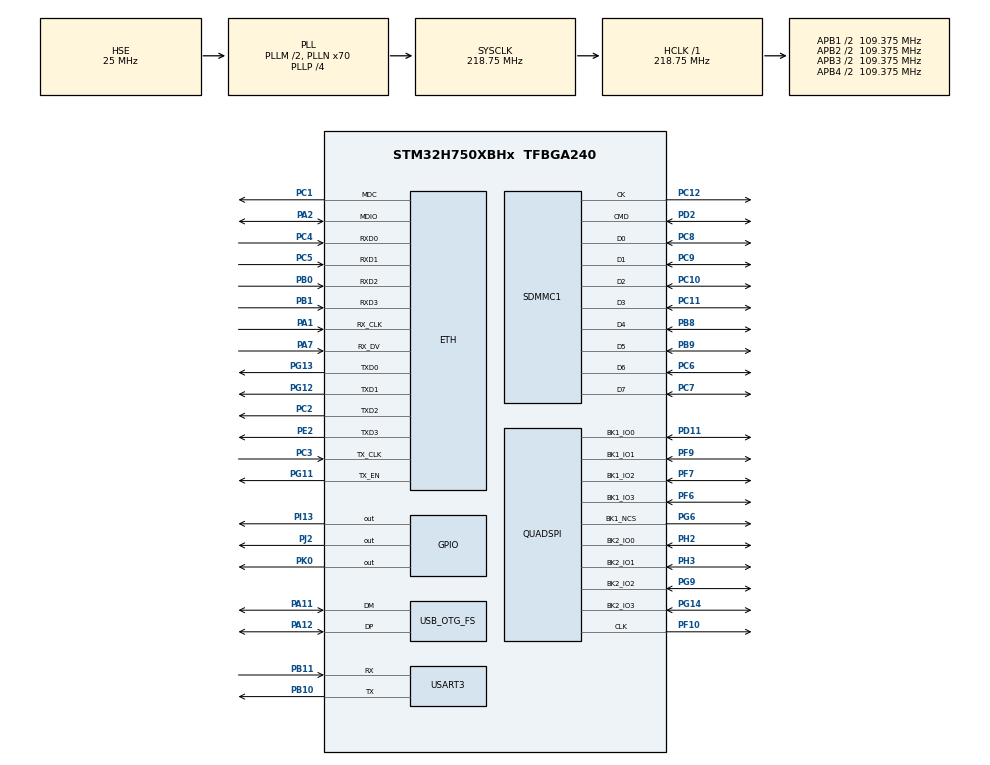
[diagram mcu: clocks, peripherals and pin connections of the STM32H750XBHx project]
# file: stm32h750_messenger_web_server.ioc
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CORTEX_M7.AccessPermission-Cortex_Memory_Protection_Unit_Region0_Settings=MPU_REGION_FULL_ACCESS
CORTEX_M7.AccessPermission-Cortex_Memory_Protection_Unit_Region1_Settings=MPU_REGION_FULL_ACCESS
CORTEX_M7.AccessPermission-Cortex_Memory_Protection_Unit_Region2_Settings=MPU_REGION_FULL_ACCESS
CORTEX_M7.AccessPermission-Cortex_Memory_Protection_Unit_Region3_Settings=MPU_REGION_FULL_ACCESS
CORTEX_M7.BaseAddress-Cortex_Memory_Protection_Unit_Region0_Settings=0x90000000
CORTEX_M7.BaseAddress-Cortex_Memory_Protection_Unit_Region1_Settings=0x90000000
CORTEX_M7.BaseAddress-Cortex_Memory_Protection_Unit_Region2_Settings=0x30004000
CORTEX_M7.BaseAddress-Cortex_Memory_Protection_Unit_Region3_Settings=0x24000000
CORTEX_M7.CPU_DCache=Enabled
CORTEX_M7.CPU_ICache=Enabled
CORTEX_M7.DisableExec-Cortex_Memory_Protection_Unit_Region0_Settings=MPU_INSTRUCTION_ACCESS_DISABLE
CORTEX_M7.DisableExec-Cortex_Memory_Protection_Unit_Region2_Settings=MPU_INSTRUCTION_ACCESS_DISABLE
CORTEX_M7.DisableExec-Cortex_Memory_Protection_Unit_Region3_Settings=MPU_INSTRUCTION_ACCESS_DISABLE
CORTEX_M7.Enable-Cortex_Memory_Protection_Unit_Region0_Settings=MPU_REGION_ENABLE
CORTEX_M7.Enable-Cortex_Memory_Protection_Unit_Region1_Settings=MPU_REGION_ENABLE
CORTEX_M7.Enable-Cortex_Memory_Protection_Unit_Region2_Settings=MPU_REGION_ENABLE
CORTEX_M7.Enable-Cortex_Memory_Protection_Unit_Region3_Settings=MPU_REGION_ENABLE
CORTEX_M7.IsBufferable-Cortex_Memory_Protection_Unit_Region0_Settings=MPU_ACCESS_BUFFERABLE
CORTEX_M7.IsBufferable-Cortex_Memory_Protection_Unit_Region1_Settings=MPU_ACCESS_BUFFERABLE
CORTEX_M7.IsCacheable-Cortex_Memory_Protection_Unit_Region0_Settings=MPU_ACCESS_CACHEABLE
CORTEX_M7.IsCacheable-Cortex_Memory_Protection_Unit_Region1_Settings=MPU_ACCESS_CACHEABLE
CORTEX_M7.IsShareable-Cortex_Memory_Protection_Unit_Region2_Settings=MPU_ACCESS_SHAREABLE
CORTEX_M7.IsShareable-Cortex_Memory_Protection_Unit_Region3_Settings=MPU_ACCESS_SHAREABLE
CORTEX_M7.MPU_Control=MPU_PRIVILEGED_DEFAULT
CORTEX_M7.Size-Cortex_Memory_Protection_Unit_Region0_Settings=MPU_REGION_SIZE_64MB
CORTEX_M7.Size-Cortex_Memory_Protection_Unit_Region1_Settings=MPU_REGION_SIZE_1MB
CORTEX_M7.Size-Cortex_Memory_Protection_Unit_Region2_Settings=MPU_REGION_SIZE_64KB
CORTEX_M7.Size-Cortex_Memory_Protection_Unit_Region3_Settings=MPU_REGION_SIZE_8KB
CORTEX_M7.TypeExtField-Cortex_Memory_Protection_Unit_Region2_Settings=MPU_TEX_LEVEL1
CORTEX_M7.TypeExtField-Cortex_Memory_Protection_Unit_Region3_Settings=MPU_TEX_LEVEL1
Dma.Request0=USART3_TX
Dma.USART3_TX.0.Direction=DMA_MEMORY_TO_PERIPH
Dma.USART3_TX.0.EventEnable=DISABLE
Dma.USART3_TX.0.FIFOMode=DMA_FIFOMODE_DISABLE
Dma.USART3_TX.0.Instance=DMA1_Stream0
Dma.USART3_TX.0.MemDataAlignment=DMA_MDATAALIGN_BYTE
Dma.USART3_TX.0.MemInc=DMA_MINC_ENABLE
Dma.USART3_TX.0.Mode=DMA_NORMAL
Dma.USART3_TX.0.PeriphDataAlignment=DMA_PDATAALIGN_BYTE
Dma.USART3_TX.0.PeriphInc=DMA_PINC_DISABLE
Dma.USART3_TX.0.Polarity=HAL_DMAMUX_REQ_GEN_RISING
Dma.USART3_TX.0.Priority=DMA_PRIORITY_LOW
Dma.USART3_TX.0.RequestNumber=1
Dma.USART3_TX.0.SignalID=NONE
Dma.USART3_TX.0.SyncEnable=DISABLE
Dma.USART3_TX.0.SyncPolarity=HAL_DMAMUX_SYNC_NO_EVENT
Dma.USART3_TX.0.SyncRequestNumber=1
Dma.USART3_TX.0.SyncSignalID=NONE
ETH.MediaInterface=HAL_ETH_MII_MODE
FATFS._USE_LFN=3
FREERTOS.BinarySemaphores01=sdmmc_sem,Static,sdmmc_semControlBlock,Depleted
FREERTOS.Mutexes01=rtcMutex,Static,rtcMutexControlBlock,Available;SchedMutex,Static,SchedMutexControlBlock,Available
FREERTOS.Queues01=memoryqueue,10,FsDataStruct,0,Static,memoryqueueBuffer,memoryqueueControlBlock;UsbEventQueue,16,UsbStageEvent,0,Static,UsbEventQueueBuffer,UsbEventQueueControlBlock;UartMessageQueue,10,128,1,Static,UartMessageQueueBuffer,UartMessageQueueControlBlock
FREERTOS.Tasks01=MemoryTask,40,400,StartMemoryTask,Default,NULL,Static,MemoryTaskBuffer,MemoryTaskControlBlock;UartTask,24,400,StartUartTask,Default,NULL,Static,UartTaskBuffer,UartTaskControlBlock;UsbMscTask,32,400,StartUsbMscTask,As external,NULL,Static,UsbMscTaskBuffer,UsbMscTaskControlBlock;SchedTask,8,128,StartSchedTask,Default,NULL,Static,SchedTaskBuffer,SchedTaskControlBlock
LWIP.BSP.number=1
LWIP.GATEWAY_ADDRESS=192.168.000.001
LWIP.IP_ADDRESS=192.168.000.123
LWIP.LWIP_DHCP=0
LWIP.LWIP_HTTPD=1
LWIP.LWIP_HTTPD_CUSTOM_FILES=1
LWIP.LWIP_HTTPD_DYNAMIC_FILE_READ=1
LWIP.LWIP_HTTPD_FS_ASYNC_READ=0
LWIP.LWIP_HTTPD_SUPPORT_POST=1
LWIP.LWIP_SNTP=1
LWIP.MEM_SIZE=8192
LWIP.NETMASK_ADDRESS=255.255.255.000
LWIP.Version=v2.1.2_Cube
LWIP0.BSP.STBoard=false
LWIP0.BSP.api=BSP_COMPONENT_DRIVER
LWIP0.BSP.component=LAN8742
LWIP0.BSP.instance=LAN8742
LWIP0.BSP.name=Driver_PHY
LWIP0.BSP.semaphore=S_LAN8742
LWIP0.BSP.solution=LAN8742
Mcu.Family=STM32H7
Mcu.Name=STM32H750XBHx
Mcu.Package=TFBGA240
NVIC.DMA1_Stream0_IRQn=true\:5\:0\:false\:false\:true\:true\:false\:true\:true
NVIC.ETH_IRQn=true\:5\:0\:false\:false\:true\:true\:true\:true\:true
NVIC.OTG_FS_IRQn=true\:7\:0\:true\:false\:true\:true\:false\:true\:true
NVIC.PriorityGroup=NVIC_PRIORITYGROUP_4
NVIC.SDMMC1_IRQn=true\:5\:0\:true\:false\:true\:true\:true\:true\:true
NVIC.TIM6_DAC_IRQn=true\:6\:0\:true\:false\:true\:false\:true\:true\:true
NVIC.TimeBase=TIM6_DAC_IRQn
NVIC.TimeBaseIP=TIM6
NVIC.USART3_IRQn=true\:5\:0\:false\:false\:true\:true\:true\:true\:true
PA1.Mode=MII Full Duplex Only
PA1.Signal=ETH_RX_CLK
PA10.Signal=USB_OTG_FS_ID
PA11.Mode=Device_Only
PA11.Signal=USB_OTG_FS_DM
PA12.Mode=Device_Only
PA12.Signal=USB_OTG_FS_DP
PA2.Mode=MII Full Duplex Only
PA2.Signal=ETH_MDIO
PA7.Mode=MII Full Duplex Only
PA7.Signal=ETH_RX_DV
PA9.Signal=USB_OTG_FS_VBUS
PB0.Mode=MII Full Duplex Only
PB0.Signal=ETH_RXD2
PB1.Mode=MII Full Duplex Only
PB1.Signal=ETH_RXD3
PB10.Mode=Asynchronous
PB10.Signal=USART3_TX
PB11.Mode=Asynchronous
PB11.Signal=USART3_RX
PB8.Mode=mmc_8_bits_Wide_bus
PB8.Signal=SDMMC1_D4
PB9.Mode=mmc_8_bits_Wide_bus
PB9.Signal=SDMMC1_D5
PC1.Mode=MII Full Duplex Only
PC1.Signal=ETH_MDC
PC10.Mode=mmc_8_bits_Wide_bus
PC10.Signal=SDMMC1_D2
PC11.Mode=mmc_8_bits_Wide_bus
PC11.Signal=SDMMC1_D3
PC12.Mode=mmc_8_bits_Wide_bus
PC12.Signal=SDMMC1_CK
PC14-OSC32_IN\ (OSC32_IN).Mode=LSE-External-Oscillator
PC14-OSC32_IN\ (OSC32_IN).Signal=RCC_OSC32_IN
PC15-OSC32_OUT\ (OSC32_OUT).Mode=LSE-External-Oscillator
PC15-OSC32_OUT\ (OSC32_OUT).Signal=RCC_OSC32_OUT
PC2.Mode=MII Full Duplex Only
PC2.Signal=ETH_TXD2
PC3.Mode=MII Full Duplex Only
PC3.Signal=ETH_TX_CLK
PC4.Mode=MII Full Duplex Only
PC4.Signal=ETH_RXD0
PC5.Mode=MII Full Duplex Only
PC5.Signal=ETH_RXD1
PC6.Mode=mmc_8_bits_Wide_bus
PC6.Signal=SDMMC1_D6
PC7.Mode=mmc_8_bits_Wide_bus
PC7.Signal=SDMMC1_D7
PC8.Mode=mmc_8_bits_Wide_bus
PC8.Signal=SDMMC1_D0
PC9.Mode=mmc_8_bits_Wide_bus
PC9.Signal=SDMMC1_D1
PD11.GPIO_Speed=GPIO_SPEED_FREQ_VERY_HIGH
PD11.Mode=Dual_Bank
PD11.Signal=QUADSPI_BK1_IO0
PD2.Mode=mmc_8_bits_Wide_bus
PD2.Signal=SDMMC1_CMD
PE2.Mode=MII Full Duplex Only
PE2.Signal=ETH_TXD3
PF10.GPIO_Speed=GPIO_SPEED_FREQ_VERY_HIGH
PF10.Mode=Dual_Bank
PF10.Signal=QUADSPI_CLK
PF6.GPIO_Speed=GPIO_SPEED_FREQ_VERY_HIGH
PF6.Mode=Dual_Bank
PF6.Signal=QUADSPI_BK1_IO3
PF7.GPIO_Speed=GPIO_SPEED_FREQ_VERY_HIGH
PF7.Mode=Dual_Bank
PF7.Signal=QUADSPI_BK1_IO2
PF9.GPIO_Speed=GPIO_SPEED_FREQ_VERY_HIGH
PF9.Mode=Dual_Bank
PF9.Signal=QUADSPI_BK1_IO1
PG11.Mode=MII Full Duplex Only
PG11.Signal=ETH_TX_EN
PG12.Mode=MII Full Duplex Only
PG12.Signal=ETH_TXD1
PG13.Mode=MII Full Duplex Only
PG13.Signal=ETH_TXD0
PG14.Mode=Dual_Bank
PG14.Signal=QUADSPI_BK2_IO3
PG6.GPIO_Speed=GPIO_SPEED_FREQ_VERY_HIGH
PG6.Mode=Enable Chip Select 1 for both banks
PG6.Signal=QUADSPI_BK1_NCS
PG9.Mode=Dual_Bank
PG9.Signal=QUADSPI_BK2_IO2
PH0-OSC_IN\ (PH0).Mode=HSE-External-Oscillator
PH0-OSC_IN\ (PH0).Signal=RCC_OSC_IN
PH1-OSC_OUT\ (PH1).Mode=HSE-External-Oscillator
PH1-OSC_OUT\ (PH1).Signal=RCC_OSC_OUT
PH2.Mode=Dual_Bank
PH2.Signal=QUADSPI_BK2_IO0
PH3.Mode=Dual_Bank
PH3.Signal=QUADSPI_BK2_IO1
PI13.Signal=GPIO_Output
PJ2.Signal=GPIO_Output
PK0.Signal=GPIO_Output
ProjectManager.HeapSize=0x200
ProjectManager.StackSize=0x400
ProjectManager.TargetToolchain=CMake
RCC.ADCFreq_Value=40000000
RCC.APB1Freq_Value=109375000
RCC.APB2Freq_Value=109375000
RCC.APB3Freq_Value=109375000
RCC.APB4Freq_Value=109375000
RCC.CKPERSourceSelection=RCC_CLKPSOURCE_HSE
RCC.CortexFreq_Value=218750000
RCC.D1PPRE=RCC_APB3_DIV2
RCC.D2PPRE1=RCC_APB1_DIV2
RCC.D2PPRE2=RCC_APB2_DIV2
RCC.D3PPRE=RCC_APB4_DIV2
RCC.DIVM1=2
RCC.DIVM2=2
RCC.DIVM3=25
RCC.DIVN1=70
RCC.DIVN2=16
RCC.DIVN3=192
RCC.DIVP1=4
RCC.DIVP2=5
RCC.DIVQ1=10
RCC.DIVQ3=4
RCC.HCLKFreq_Value=218750000
RCC.HSE_VALUE=25000000
RCC.PLL2FRACN=0
RCC.PLL3FRACN=0
RCC.PLLFRACN=0
RCC.PLLSourceVirtual=RCC_PLLSOURCE_HSE
RCC.PWR_Regulator_Voltage_Scale=PWR_REGULATOR_VOLTAGE_SCALE2
RCC.QSPICLockSelection=RCC_QSPICLKSOURCE_PLL
RCC.SDMMC1CLockSelection=RCC_SDMMCCLKSOURCE_PLL2
RCC.SYSCLKFreq_VALUE=218750000
RCC.SYSCLKSource=RCC_SYSCLKSOURCE_PLLCLK
RCC.USART234578CLockSelection=RCC_USART234578CLKSOURCE_PLL3
RCC.USBCLockSelection=RCC_USBCLKSOURCE_PLL3
RCC.USBFreq_Value=48000000
SDMMC1.ClockDiv=2
SDMMC1.HardwareFlowControl=SDMMC_HARDWARE_FLOW_CONTROL_ENABLE
USART3.VirtualMode-Asynchronous=VM_ASYNC
USB_DEVICE.CLASS_NAME_FS=MSC
USB_DEVICE.VirtualMode-MSC_FS=Msc
USB_DEVICE.VirtualModeFS=Msc_FS
USB_OTG_FS.VirtualMode=Device_Only
VP_FATFS_VS_Generic.Mode=User_defined
VP_FREERTOS_VS_CMSIS_V2.Mode=CMSIS_V2
VP_LWIP_VS_Enabled.Mode=Enabled
VP_MEMORYMAP_VS_MEMORYMAP.Mode=CurAppReg
VP_RTC_VS_RTC_Activate.Mode=RTC_Enabled
VP_SYS_VS_tim6.Mode=TIM6
VP_USB_DEVICE_VS_USB_DEVICE_MSC_FS.Mode=MSC_FS
board=STM32H750B-DK

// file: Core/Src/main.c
/* USER CODE BEGIN Header */
/**
  ******************************************************************************
  * @file           : main.c
  * @brief          : Main program body
  ******************************************************************************
  * @attention
  *
  * Copyright (c) 2026 STMicroelectronics.
  * All rights reserved.
  *
  * This software is licensed under terms that can be found in the LICENSE file
  * in the root directory of this software component.
  * If no LICENSE file comes with this software, it is provided AS-IS.
  *
  ******************************************************************************
  */
/* USER CODE END Header */
#include "main.h"
#include "cmsis_os.h"
#include "fatfs.h"
#include "usb_device.h"

/* USER CODE BEGIN Includes */
#include "lwip.h"
#include "httpd.h"
#include "mmc_transfer.h"
#include "usb_msc_task.h"
#include "uart_transfer.h"
#include "httpd_post.h"
#include "rtc_time.h"
#include "msg_scheduler.h"
#include "sntp.h"
#include "lwip/ip_addr.h"
#include <string.h>
/* USER CODE END Includes */

typedef StaticTask_t osStaticThreadDef_t;
typedef StaticQueue_t osStaticMessageQDef_t;
typedef StaticSemaphore_t osStaticMutexDef_t;
typedef StaticSemaphore_t osStaticSemaphoreDef_t;

RTC_HandleTypeDef hrtc;

MMC_HandleTypeDef hmmc1;

UART_HandleTypeDef huart3;
DMA_HandleTypeDef hdma_usart3_tx;

/* Definitions for MemoryTask */
osThreadId_t MemoryTaskHandle;
uint32_t MemoryTaskBuffer[ 400 ];
osStaticThreadDef_t MemoryTaskControlBlock;
const osThreadAttr_t MemoryTask_attributes = {
  .name = "MemoryTask",
  .cb_mem = &MemoryTaskControlBlock,
  .cb_size = sizeof(MemoryTaskControlBlock),
  .stack_mem = &MemoryTaskBuffer[0],
  .stack_size = sizeof(MemoryTaskBuffer),
  .priority = (osPriority_t) osPriorityHigh,
};
/* Definitions for UartTask */
osThreadId_t UartTaskHandle;
uint32_t UartTaskBuffer[ 400 ];
osStaticThreadDef_t UartTaskControlBlock;
const osThreadAttr_t UartTask_attributes = {
  .name = "UartTask",
  .cb_mem = &UartTaskControlBlock,
  .cb_size = sizeof(UartTaskControlBlock),
  .stack_mem = &UartTaskBuffer[0],
  .stack_size = sizeof(UartTaskBuffer),
  .priority = (osPriority_t) osPriorityNormal,
};
/* Definitions for UsbMscTask */
osThreadId_t UsbMscTaskHandle;
uint32_t UsbMscTaskBuffer[ 400 ];
osStaticThreadDef_t UsbMscTaskControlBlock;
const osThreadAttr_t UsbMscTask_attributes = {
  .name = "UsbMscTask",
  .cb_mem = &UsbMscTaskControlBlock,
  .cb_size = sizeof(UsbMscTaskControlBlock),
  .stack_mem = &UsbMscTaskBuffer[0],
  .stack_size = sizeof(UsbMscTaskBuffer),
  .priority = (osPriority_t) osPriorityAboveNormal,
};
/* Definitions for SchedTask */
osThreadId_t SchedTaskHandle;
uint32_t SchedTaskBuffer[ 128 ];
osStaticThreadDef_t SchedTaskControlBlock;
const osThreadAttr_t SchedTask_attributes = {
  .name = "SchedTask",
  .cb_mem = &SchedTaskControlBlock,
  .cb_size = sizeof(SchedTaskControlBlock),
  .stack_mem = &SchedTaskBuffer[0],
  .stack_size = sizeof(SchedTaskBuffer),
  .priority = (osPriority_t) osPriorityLow,
};
/* Definitions for memoryqueue */
osMessageQueueId_t memoryqueueHandle;
uint8_t memoryqueueBuffer[ 10 * sizeof( FsDataStruct ) ];
osStaticMessageQDef_t memoryqueueControlBlock;
const osMessageQueueAttr_t memoryqueue_attributes = {
  .name = "memoryqueue",
  .cb_mem = &memoryqueueControlBlock,
  .cb_size = sizeof(memoryqueueControlBlock),
  .mq_mem = &memoryqueueBuffer,
  .mq_size = sizeof(memoryqueueBuffer)
};
/* Definitions for UsbEventQueue */
osMessageQueueId_t UsbEventQueueHandle;
uint8_t UsbEventQueueBuffer[ 16 * sizeof( UsbStageEvent ) ];
osStaticMessageQDef_t UsbEventQueueControlBlock;
const osMessageQueueAttr_t UsbEventQueue_attributes = {
  .name = "UsbEventQueue",
  .cb_mem = &UsbEventQueueControlBlock,
  .cb_size = sizeof(UsbEventQueueControlBlock),
  .mq_mem = &UsbEventQueueBuffer,
  .mq_size = sizeof(UsbEventQueueBuffer)
};
/* Definitions for UartMessageQueue */
osMessageQueueId_t UartMessageQueueHandle;
uint8_t UartMessageQueueBuffer[ 10 * 128 ];
osStaticMessageQDef_t UartMessageQueueControlBlock;
const osMessageQueueAttr_t UartMessageQueue_attributes = {
  .name = "UartMessageQueue",
  .cb_mem = &UartMessageQueueControlBlock,
  .cb_size = sizeof(UartMessageQueueControlBlock),
  .mq_mem = &UartMessageQueueBuffer,
  .mq_size = sizeof(UartMessageQueueBuffer)
};
/* Definitions for rtcMutex */
osMutexId_t rtcMutexHandle;
osStaticMutexDef_t rtcMutexControlBlock;
const osMutexAttr_t rtcMutex_attributes = {
  .name = "rtcMutex",
  .cb_mem = &rtcMutexControlBlock,
  .cb_size = sizeof(rtcMutexControlBlock),
};
/* Definitions for SchedMutex */
osMutexId_t SchedMutexHandle;
osStaticMutexDef_t SchedMutexControlBlock;
const osMutexAttr_t SchedMutex_attributes = {
  .name = "SchedMutex",
  .cb_mem = &SchedMutexControlBlock,
  .cb_size = sizeof(SchedMutexControlBlock),
};
/* Definitions for sdmmc_sem */
osSemaphoreId_t sdmmc_semHandle;
osStaticSemaphoreDef_t sdmmc_semControlBlock;
const osSemaphoreAttr_t sdmmc_sem_attributes = {
  .name = "sdmmc_sem",
  .cb_mem = &sdmmc_semControlBlock,
  .cb_size = sizeof(sdmmc_semControlBlock),
};
/* USER CODE BEGIN PV */
/* Signals HAL_UART_TxCpltCallback/ErrorCallback -> UART_SendBlocking()
 * (uart_transfer.c), mirroring sdmmc_semHandle above. */
osSemaphoreId_t uartTxSemHandle;
osStaticSemaphoreDef_t uartTxSemControlBlock;
const osSemaphoreAttr_t uartTxSem_attributes = {
  .name = "uartTxSem",
  .cb_mem = &uartTxSemControlBlock,
  .cb_size = sizeof(uartTxSemControlBlock),
};
/* USER CODE END PV */

void SystemClock_Config(void);
void PeriphCommonClock_Config(void);
static void MPU_Config(void);
static void MX_GPIO_Init(void);
static void MX_DMA_Init(void);
static void MX_SDMMC1_MMC_Init(void);
static void MX_USART3_UART_Init(void);
static void MX_RTC_Init(void);
void StartMemoryTask(void *argument);
void StartUartTask(void *argument);
extern void StartUsbMscTask(void *argument);
void StartSchedTask(void *argument);

/* USER CODE BEGIN 0 */

FATFS fs;
char path[4];

void FS_Init(void){
  FATFS_LinkDriver(&USER_Driver,path);
  disk_initialize(0);

}
uint8_t buf[200]={0};
/* USER CODE END 0 */

int main(void)
{

  /* MPU Configuration--------------------------------------------------------*/
  MPU_Config();

  /* Enable the CPU Cache */

  /* Enable I-Cache---------------------------------------------------------*/
  SCB_EnableICache();

  /* Enable D-Cache---------------------------------------------------------*/
  SCB_EnableDCache();

  /* MCU Configuration--------------------------------------------------------*/

  /* Reset of all peripherals, Initializes the Flash interface and the Systick. */
  HAL_Init();

  /* USER CODE BEGIN Init */
  __enable_irq();
  HAL_Delay (1000);

  /* USER CODE END Init */

  /* Configure the system clock */
  SystemClock_Config();

  /* Configure the peripherals common clocks */
  PeriphCommonClock_Config();

  /* USER CODE BEGIN SysInit */
  //changed qspi clock from bootloader config to faster
  RCC->D1CCIPR|=RCC_D1CCIPR_QSPISEL_0;

  // __HAL_RCC_ETH1MAC_CLK_ENABLE();
  // __HAL_RCC_ETH1TX_CLK_ENABLE();
  // __HAL_RCC_ETH1RX_CLK_ENABLE();
  /* USER CODE END SysInit */

  /* Initialize all configured peripherals */
  MX_GPIO_Init();
  MX_DMA_Init();
  MX_SDMMC1_MMC_Init();
  MX_FATFS_Init();
  MX_USART3_UART_Init();
  MX_RTC_Init();
  /* USER CODE BEGIN 2 */
  HAL_GPIO_WritePin(GPIOI, GPIO_PIN_13,1);
  HAL_GPIO_WritePin(GPIOJ, GPIO_PIN_2,0);

  /* LWIP/httpd init (was in StartMemoryTask, called after osKernelStart() -
   * moved here, before the scheduler starts, so netif_add()/httpd_init()'s
   * raw lwIP API calls can't race tcpip_thread or the EthIf RX task, which
   * don't exist yet at this point. See lwip.c's MX_LWIP_Init(). */
  MX_LWIP_Init();

  /* NTP sync: local chrony instance on the dev machine (192.168.0.14) -
   * the router at 192.168.0.1 doesn't answer NTP (confirmed by probing it
   * directly). sntp_init() doesn't need to wait for the Ethernet link to
   * actually be up first - SNTP's own internal retry/backoff
   * (SNTP_RETRY_TIMEOUT) covers a first attempt that goes out too early.
   * No re-sync logic beyond this: SNTP_UPDATE_DELAY's default ~1h re-poll
   * (lwipopts.h) is left as-is, which is enough to self-correct a bad sync
   * without any custom code - see rtc_time.h/msg_scheduler.h. */
  ip_addr_t ntp_server;
  IP4_ADDR(&ntp_server, 192, 168, 0, 14);
  sntp_setserver(0, &ntp_server);
  sntp_init();
  /* USER CODE END 2 */

  /* Init scheduler */
  osKernelInitialize();
  /* Create the mutex(es) */
  /* creation of rtcMutex */
  rtcMutexHandle = osMutexNew(&rtcMutex_attributes);

  /* creation of SchedMutex */
  SchedMutexHandle = osMutexNew(&SchedMutex_attributes);

  /* Create the semaphores(s) */
  /* creation of sdmmc_sem */
  sdmmc_semHandle = osSemaphoreNew(1, 0, &sdmmc_sem_attributes);

  /* USER CODE BEGIN RTOS_SEMAPHORES */
  /* add semaphores, ... */
  uartTxSemHandle = osSemaphoreNew(1, 0, &uartTxSem_attributes);
  /* USER CODE END RTOS_SEMAPHORES */

  /* Create the queue(s) */
  /* creation of memoryqueue */
  memoryqueueHandle = osMessageQueueNew (10, sizeof(FsDataStruct), &memoryqueue_attributes);

  /* creation of UsbEventQueue */
  UsbEventQueueHandle = osMessageQueueNew (16, sizeof(UsbStageEvent), &UsbEventQueue_attributes);

  /* creation of UartMessageQueue */
  UartMessageQueueHandle = osMessageQueueNew (10, 128, &UartMessageQueue_attributes);

  /* USER CODE BEGIN RTOS_QUEUES */
  /* add queues, ... */
  /* creation of UsbEventQueue - see usb_msc_task.h */
  /* USER CODE END RTOS_QUEUES */

  /* Create the thread(s) */
  /* creation of MemoryTask */
  MemoryTaskHandle = osThreadNew(StartMemoryTask, NULL, &MemoryTask_attributes);

  /* creation of UartTask */
  UartTaskHandle = osThreadNew(StartUartTask, NULL, &UartTask_attributes);

  /* creation of UsbMscTask */
  UsbMscTaskHandle = osThreadNew(StartUsbMscTask, NULL, &UsbMscTask_attributes);

  /* creation of SchedTask */
  SchedTaskHandle = osThreadNew(StartSchedTask, NULL, &SchedTask_attributes);

  /* USER CODE BEGIN RTOS_THREADS */
  /* add threads, ... */
  /* creation of UsbMscTask - see usb_msc_task.h */
  /* USER CODE END RTOS_THREADS */

  /* Start scheduler */
  osKernelStart();

  /* We should never get here as control is now taken by the scheduler */

  /* Infinite loop */
  while (1)
  {

  }
}

void SystemClock_Config(void)
{
  RCC_OscInitTypeDef RCC_OscInitStruct = {0};
  RCC_ClkInitTypeDef RCC_ClkInitStruct = {0};

  /** Supply configuration update enable
  */
  HAL_PWREx_ConfigSupply(PWR_LDO_SUPPLY);

  /** Configure the main internal regulator output voltage
  */
  __HAL_PWR_VOLTAGESCALING_CONFIG(PWR_REGULATOR_VOLTAGE_SCALE2);

  while(!__HAL_PWR_GET_FLAG(PWR_FLAG_VOSRDY)) {}

  /** Initializes the RCC Oscillators according to the specified parameters
  * in the RCC_OscInitTypeDef structure.
  */
  RCC_OscInitStruct.OscillatorType = RCC_OSCILLATORTYPE_LSI|RCC_OSCILLATORTYPE_HSE;
  RCC_OscInitStruct.HSEState = RCC_HSE_ON;
  RCC_OscInitStruct.LSIState = RCC_LSI_ON;
  RCC_OscInitStruct.PLL.PLLState = RCC_PLL_ON;
  RCC_OscInitStruct.PLL.PLLSource = RCC_PLLSOURCE_HSE;
  RCC_OscInitStruct.PLL.PLLM = 2;
  RCC_OscInitStruct.PLL.PLLN = 70;
  RCC_OscInitStruct.PLL.PLLP = 4;
  RCC_OscInitStruct.PLL.PLLQ = 10;
  RCC_OscInitStruct.PLL.PLLR = 2;
  RCC_OscInitStruct.PLL.PLLRGE = RCC_PLL1VCIRANGE_3;
  RCC_OscInitStruct.PLL.PLLVCOSEL = RCC_PLL1VCOWIDE;
  RCC_OscInitStruct.PLL.PLLFRACN = 0;
  if (HAL_RCC_OscConfig(&RCC_OscInitStruct) != HAL_OK)
  {
    Error_Handler();
  }

  /** Initializes the CPU, AHB and APB buses clocks
  */
  RCC_ClkInitStruct.ClockType = RCC_CLOCKTYPE_HCLK|RCC_CLOCKTYPE_SYSCLK
                              |RCC_CLOCKTYPE_PCLK1|RCC_CLOCKTYPE_PCLK2
                              |RCC_CLOCKTYPE_D3PCLK1|RCC_CLOCKTYPE_D1PCLK1;
  RCC_ClkInitStruct.SYSCLKSource = RCC_SYSCLKSOURCE_PLLCLK;
  RCC_ClkInitStruct.SYSCLKDivider = RCC_SYSCLK_DIV1;
  RCC_ClkInitStruct.AHBCLKDivider = RCC_HCLK_DIV1;
  RCC_ClkInitStruct.APB3CLKDivider = RCC_APB3_DIV2;
  RCC_ClkInitStruct.APB1CLKDivider = RCC_APB1_DIV2;
  RCC_ClkInitStruct.APB2CLKDivider = RCC_APB2_DIV2;
  RCC_ClkInitStruct.APB4CLKDivider = RCC_APB4_DIV2;

  if (HAL_RCC_ClockConfig(&RCC_ClkInitStruct, FLASH_LATENCY_3) != HAL_OK)
  {
    Error_Handler();
  }
}

void PeriphCommonClock_Config(void)
{
  RCC_PeriphCLKInitTypeDef PeriphClkInitStruct = {0};

  /** Initializes the peripherals clock
  */
  PeriphClkInitStruct.PeriphClockSelection = RCC_PERIPHCLK_USB|RCC_PERIPHCLK_USART3;
  PeriphClkInitStruct.PLL3.PLL3M = 25;
  PeriphClkInitStruct.PLL3.PLL3N = 192;
  PeriphClkInitStruct.PLL3.PLL3P = 2;
  PeriphClkInitStruct.PLL3.PLL3Q = 4;
  PeriphClkInitStruct.PLL3.PLL3R = 2;
  PeriphClkInitStruct.PLL3.PLL3RGE = RCC_PLL3VCIRANGE_0;
  PeriphClkInitStruct.PLL3.PLL3VCOSEL = RCC_PLL3VCOWIDE;
  PeriphClkInitStruct.PLL3.PLL3FRACN = 0;
  PeriphClkInitStruct.Usart234578ClockSelection = RCC_USART234578CLKSOURCE_PLL3;
  PeriphClkInitStruct.UsbClockSelection = RCC_USBCLKSOURCE_PLL3;
  if (HAL_RCCEx_PeriphCLKConfig(&PeriphClkInitStruct) != HAL_OK)
  {
    Error_Handler();
  }
}

static void MX_RTC_Init(void)
{

  /** Initialize RTC Only
  */
  hrtc.Instance = RTC;
  hrtc.Init.HourFormat = RTC_HOURFORMAT_24;
  hrtc.Init.AsynchPrediv = 127;
  hrtc.Init.SynchPrediv = 255;
  hrtc.Init.OutPut = RTC_OUTPUT_DISABLE;
  hrtc.Init.OutPutPolarity = RTC_OUTPUT_POLARITY_HIGH;
  hrtc.Init.OutPutType = RTC_OUTPUT_TYPE_OPENDRAIN;
  hrtc.Init.OutPutRemap = RTC_OUTPUT_REMAP_NONE;
  if (HAL_RTC_Init(&hrtc) != HAL_OK)
  {
    Error_Handler();
  }

}

static void MX_SDMMC1_MMC_Init(void)
{

  hmmc1.Instance = SDMMC1;
  hmmc1.Init.ClockEdge = SDMMC_CLOCK_EDGE_RISING;
  hmmc1.Init.ClockPowerSave = SDMMC_CLOCK_POWER_SAVE_DISABLE;
  hmmc1.Init.BusWide = SDMMC_BUS_WIDE_8B;
  hmmc1.Init.HardwareFlowControl = SDMMC_HARDWARE_FLOW_CONTROL_ENABLE;
  hmmc1.Init.ClockDiv = 2;
  if (HAL_MMC_Init(&hmmc1) != HAL_OK)
  {
    Error_Handler();
  }

}

static void MX_USART3_UART_Init(void)
{

  huart3.Instance = USART3;
  huart3.Init.BaudRate = 115200;
  huart3.Init.WordLength = UART_WORDLENGTH_8B;
  huart3.Init.StopBits = UART_STOPBITS_1;
  huart3.Init.Parity = UART_PARITY_NONE;
  huart3.Init.Mode = UART_MODE_TX_RX;
  huart3.Init.HwFlowCtl = UART_HWCONTROL_NONE;
  huart3.Init.OverSampling = UART_OVERSAMPLING_16;
  huart3.Init.OneBitSampling = UART_ONE_BIT_SAMPLE_DISABLE;
  huart3.Init.ClockPrescaler = UART_PRESCALER_DIV1;
  huart3.AdvancedInit.AdvFeatureInit = UART_ADVFEATURE_NO_INIT;
  if (HAL_UART_Init(&huart3) != HAL_OK)
  {
    Error_Handler();
  }
  if (HAL_UARTEx_SetTxFifoThreshold(&huart3, UART_TXFIFO_THRESHOLD_1_8) != HAL_OK)
  {
    Error_Handler();
  }
  if (HAL_UARTEx_SetRxFifoThreshold(&huart3, UART_RXFIFO_THRESHOLD_1_8) != HAL_OK)
  {
    Error_Handler();
  }
  if (HAL_UARTEx_DisableFifoMode(&huart3) != HAL_OK)
  {
    Error_Handler();
  }

}

static void MX_DMA_Init(void)
{

  /* DMA controller clock enable */
  __HAL_RCC_DMA1_CLK_ENABLE();

  /* DMA interrupt init */
  /* DMA1_Stream0_IRQn interrupt configuration */
  HAL_NVIC_SetPriority(DMA1_Stream0_IRQn, 5, 0);
  HAL_NVIC_EnableIRQ(DMA1_Stream0_IRQn);

}

static void MX_GPIO_Init(void)
{
  GPIO_InitTypeDef GPIO_InitStruct = {0};

  /* GPIO Ports Clock Enable */
  __HAL_RCC_GPIOG_CLK_ENABLE();
  __HAL_RCC_GPIOC_CLK_ENABLE();
  __HAL_RCC_GPIOE_CLK_ENABLE();
  __HAL_RCC_GPIOB_CLK_ENABLE();
  __HAL_RCC_GPIOD_CLK_ENABLE();
  __HAL_RCC_GPIOA_CLK_ENABLE();
  __HAL_RCC_GPIOI_CLK_ENABLE();
  __HAL_RCC_GPIOH_CLK_ENABLE();
  __HAL_RCC_GPIOK_CLK_ENABLE();
  __HAL_RCC_GPIOF_CLK_ENABLE();
  __HAL_RCC_GPIOJ_CLK_ENABLE();

  /*Configure GPIO pin Output Level */
  HAL_GPIO_WritePin(GPIOI, GPIO_PIN_13, GPIO_PIN_RESET);

  /*Configure GPIO pin Output Level */
  HAL_GPIO_WritePin(GPIOK, GPIO_PIN_0, GPIO_PIN_RESET);

  /*Configure GPIO pin Output Level */
  HAL_GPIO_WritePin(GPIOJ, GPIO_PIN_2, GPIO_PIN_RESET);

  /*Configure GPIO pin : PI13 */
  GPIO_InitStruct.Pin = GPIO_PIN_13;
  GPIO_InitStruct.Mode = GPIO_MODE_OUTPUT_PP;
  GPIO_InitStruct.Pull = GPIO_NOPULL;
  GPIO_InitStruct.Speed = GPIO_SPEED_FREQ_LOW;
  HAL_GPIO_Init(GPIOI, &GPIO_InitStruct);

  /*Configure GPIO pin : PK0 */
  GPIO_InitStruct.Pin = GPIO_PIN_0;
  GPIO_InitStruct.Mode = GPIO_MODE_OUTPUT_PP;
  GPIO_InitStruct.Pull = GPIO_NOPULL;
  GPIO_InitStruct.Speed = GPIO_SPEED_FREQ_LOW;
  HAL_GPIO_Init(GPIOK, &GPIO_InitStruct);

  /*Configure GPIO pin : PJ2 */
  GPIO_InitStruct.Pin = GPIO_PIN_2;
  GPIO_InitStruct.Mode = GPIO_MODE_OUTPUT_PP;
  GPIO_InitStruct.Pull = GPIO_NOPULL;
  GPIO_InitStruct.Speed = GPIO_SPEED_FREQ_LOW;
  HAL_GPIO_Init(GPIOJ, &GPIO_InitStruct);

}

/* USER CODE BEGIN 4 */
FRESULT res2;
/* USER CODE END 4 */

void StartMemoryTask(void *argument)
{
  /* init code for USB_DEVICE */
  MX_USB_DEVICE_Init();
  /* USER CODE BEGIN 5 */
  /* LWIP/httpd init moved to main() (USER CODE BEGIN 2), before
   * osKernelStart() - see lwip.c's MX_LWIP_Init() for why. */
  FsDataStruct input_data;
  /* Infinite loop */
  for(;;)
  {
    if(osMessageQueueGet(memoryqueueHandle, &input_data, 0, portMAX_DELAY)==osOK){
      MMC_ProcessRequest(&input_data);
      HAL_GPIO_TogglePin(GPIOI, GPIO_PIN_13);
    }
    // osDelay(500);
  }
  /* USER CODE END 5 */
}

void StartUartTask(void *argument)
{
  /* USER CODE BEGIN StartUartTask */
  //better to leave it here , it cant be in fatfs_init before scheduler
  res2 = f_mount(&fs, path, 1);

  UartMessage msg;
  /* Infinite loop */
  for(;;)
  {
    if(osMessageQueueGet(UartMessageQueueHandle, &msg, NULL, portMAX_DELAY)==osOK){
      msg.text[UART_MESSAGE_MAX_LEN-1]='\0';
      size_t len=strlen(msg.text);
      UART_SendBlocking(msg.text, (uint16_t)len, 1000);
      HAL_GPIO_TogglePin(GPIOJ, GPIO_PIN_2);
    }
  }
  /* USER CODE END StartUartTask */
}

void StartSchedTask(void *argument)
{
  /* USER CODE BEGIN StartSchedTask */
  /* Infinite loop */
  for(;;)
  {
    osDelay(1000);
    Scheduler_Poll();
  }
  /* USER CODE END StartSchedTask */
}

 /* MPU Configuration */

void MPU_Config(void)
{
  MPU_Region_InitTypeDef MPU_InitStruct = {0};

  /* Disables the MPU */
  HAL_MPU_Disable();

  /** Initializes and configures the Region and the memory to be protected
  */
  MPU_InitStruct.Enable = MPU_REGION_ENABLE;
  MPU_InitStruct.Number = MPU_REGION_NUMBER0;
  MPU_InitStruct.BaseAddress = 0x90000000;
  MPU_InitStruct.Size = MPU_REGION_SIZE_64MB;
  MPU_InitStruct.SubRegionDisable = 0x0;
  MPU_InitStruct.TypeExtField = MPU_TEX_LEVEL0;
  MPU_InitStruct.AccessPermission = MPU_REGION_FULL_ACCESS;
  MPU_InitStruct.DisableExec = MPU_INSTRUCTION_ACCESS_DISABLE;
  MPU_InitStruct.IsShareable = MPU_ACCESS_NOT_SHAREABLE;
  MPU_InitStruct.IsCacheable = MPU_ACCESS_CACHEABLE;
  MPU_InitStruct.IsBufferable = MPU_ACCESS_BUFFERABLE;

  HAL_MPU_ConfigRegion(&MPU_InitStruct);

  /** Initializes and configures the Region and the memory to be protected
  */
  MPU_InitStruct.Number = MPU_REGION_NUMBER1;
  MPU_InitStruct.Size = MPU_REGION_SIZE_1MB;
  MPU_InitStruct.DisableExec = MPU_INSTRUCTION_ACCESS_ENABLE;

  HAL_MPU_ConfigRegion(&MPU_InitStruct);

  /** Initializes and configures the Region and the memory to be protected
  */
  MPU_InitStruct.Number = MPU_REGION_NUMBER2;
  MPU_InitStruct.BaseAddress = 0x30004000;
  MPU_InitStruct.Size = MPU_REGION_SIZE_64KB;
  MPU_InitStruct.TypeExtField = MPU_TEX_LEVEL1;
  MPU_InitStruct.DisableExec = MPU_INSTRUCTION_ACCESS_DISABLE;
  MPU_InitStruct.IsShareable = MPU_ACCESS_SHAREABLE;
  MPU_InitStruct.IsCacheable = MPU_ACCESS_NOT_CACHEABLE;
  MPU_InitStruct.IsBufferable = MPU_ACCESS_NOT_BUFFERABLE;

  HAL_MPU_ConfigRegion(&MPU_InitStruct);

  /** Initializes and configures the Region and the memory to be protected
  */
  MPU_InitStruct.Number = MPU_REGION_NUMBER3;
  MPU_InitStruct.BaseAddress = 0x24000000;
  MPU_InitStruct.Size = MPU_REGION_SIZE_8KB;

  HAL_MPU_ConfigRegion(&MPU_InitStruct);
  /* Enables the MPU */
  HAL_MPU_Enable(MPU_PRIVILEGED_DEFAULT);

}

void HAL_TIM_PeriodElapsedCallback(TIM_HandleTypeDef *htim)
{
  if (htim->Instance == TIM6)
  {
    HAL_IncTick();
  }
}

void Error_Handler(void)
{
  __disable_irq();
  while (1)
  {
  }
}
